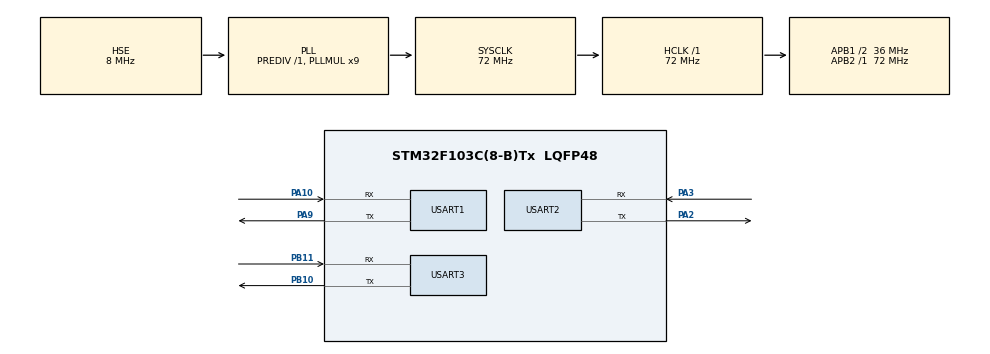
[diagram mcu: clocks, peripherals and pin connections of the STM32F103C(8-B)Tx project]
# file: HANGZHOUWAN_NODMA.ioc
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Mcu.Family=STM32F1
Mcu.Name=STM32F103C(8-B)Tx
Mcu.Package=LQFP48
NVIC.PriorityGroup=NVIC_PRIORITYGROUP_4
NVIC.USART1_IRQn=true\:0\:0\:false\:false\:true\:true\:true
NVIC.USART2_IRQn=true\:0\:0\:false\:false\:true\:true\:true
NVIC.USART3_IRQn=true\:0\:0\:false\:false\:true\:true\:true
PA10.Mode=Asynchronous
PA10.Signal=USART1_RX
PA13.Mode=Serial_Wire
PA13.Signal=SYS_JTMS-SWDIO
PA14.Mode=Serial_Wire
PA14.Signal=SYS_JTCK-SWCLK
PA2.Mode=Asynchronous
PA2.Signal=USART2_TX
PA3.Mode=Asynchronous
PA3.Signal=USART2_RX
PA9.Mode=Asynchronous
PA9.Signal=USART1_TX
PB10.Mode=Asynchronous
PB10.Signal=USART3_TX
PB11.Mode=Asynchronous
PB11.Signal=USART3_RX
PC14-OSC32_IN.Mode=LSE-External-Oscillator
PC14-OSC32_IN.Signal=RCC_OSC32_IN
PC15-OSC32_OUT.Mode=LSE-External-Oscillator
PC15-OSC32_OUT.Signal=RCC_OSC32_OUT
PD0-OSC_IN.Mode=HSE-External-Oscillator
PD0-OSC_IN.Signal=RCC_OSC_IN
PD1-OSC_OUT.Mode=HSE-External-Oscillator
PD1-OSC_OUT.Signal=RCC_OSC_OUT
ProjectManager.HeapSize=0x200
ProjectManager.StackSize=0x400
ProjectManager.TargetToolchain=STM32CubeIDE
RCC.AHBFreq_Value=72000000
RCC.APB1CLKDivider=RCC_HCLK_DIV2
RCC.APB1Freq_Value=36000000
RCC.APB1TimFreq_Value=72000000
RCC.APB2Freq_Value=72000000
RCC.APB2TimFreq_Value=72000000
RCC.HCLKFreq_Value=72000000
RCC.PLLMUL=RCC_PLL_MUL9
RCC.PLLSourceVirtual=RCC_PLLSOURCE_HSE
RCC.SYSCLKFreq_VALUE=72000000
RCC.SYSCLKSource=RCC_SYSCLKSOURCE_PLLCLK
RCC.USBFreq_Value=72000000
USART1.VirtualMode=VM_ASYNC
USART2.VirtualMode=VM_ASYNC
USART3.VirtualMode=VM_ASYNC
board=custom

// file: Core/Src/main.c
/* USER CODE BEGIN Header */
/**
  ******************************************************************************
  * @file           : main.c
  * @brief          : Main program body
  ******************************************************************************
  * @attention
  *
  * <h2><center>&copy; Copyright (c) 2021 STMicroelectronics.
  * All rights reserved.</center></h2>
  *
  * This software component is licensed by ST under BSD 3-Clause license,
  * the "License"; You may not use this file except in compliance with the
  * License. You may obtain a copy of the License at:
  *                        opensource.org/licenses/BSD-3-Clause
  *
  ******************************************************************************
  */
/* USER CODE END Header */
#include "main.h"

UART_HandleTypeDef huart1;
UART_HandleTypeDef huart2;
UART_HandleTypeDef huart3;

/* USER CODE BEGIN PV */
uint8_t distance1_received[255];
uint8_t distance1_received_counts=0;
uint8_t distance1_buff[9];
uint8_t distance1[4];//用字符串表示�?????4位距离（cm�?????
uint8_t distance1_updated=0;
uint8_t sensor_ID1[4]=" s1:";
uint8_t distance1_str[4];
uint8_t distance2_received[255];
uint8_t distance2_received_counts=0;
uint8_t distance2_buff[9];
uint8_t distance2[4];//用字符串表示�?????4位距离（cm�?????
uint8_t distance2_updated=0;
uint8_t sensor_ID2[4]=" s2:";
uint8_t distance2_str[4];
/* USER CODE END PV */

void SystemClock_Config(void);
static void MX_GPIO_Init(void);
static void MX_USART1_UART_Init(void);
static void MX_USART2_UART_Init(void);
static void MX_USART3_UART_Init(void);
/* USER CODE BEGIN PFP */
void distance_data_process(uint8_t* data, uint8_t* sensor_ID);
/* USER CODE END PFP */

int main(void)
{

  /* MCU Configuration--------------------------------------------------------*/

  /* Reset of all peripherals, Initializes the Flash interface and the Systick. */
  HAL_Init();

  /* Configure the system clock */
  SystemClock_Config();

  /* Initialize all configured peripherals */
  MX_GPIO_Init();
  MX_USART1_UART_Init();
  MX_USART2_UART_Init();
  MX_USART3_UART_Init();
  /* USER CODE BEGIN 2 */
  HAL_UART_Receive_IT(&huart1,distance1_received+distance1_received_counts,1);
  HAL_UART_Receive_IT(&huart3,distance2_received+distance2_received_counts,1);
  /* USER CODE END 2 */

  /* Infinite loop */
  /* USER CODE BEGIN WHILE */
  while (1)
  {
	  //HAL_UART_Transmit(&huart2, &distance1_received_counts, 1, 0x200);
	  if(distance1_received_counts>5)
	  {
		  //HAL_UART_Transmit(&huart2, &distance1_received_counts, 1, 0x200);
		  memcpy(distance1_buff+1, distance1_received, 5);
		  distance_data_process(distance1_buff, sensor_ID1);
	  }
	  if(distance2_received_counts>5)
	  {
		  memcpy(distance2_buff+1, distance2_received, 5);
		  distance_data_process(distance2_buff, sensor_ID2);
	  }
    /* USER CODE END WHILE */

  }
}

void SystemClock_Config(void)
{
  RCC_OscInitTypeDef RCC_OscInitStruct = {0};
  RCC_ClkInitTypeDef RCC_ClkInitStruct = {0};

  /** Initializes the RCC Oscillators according to the specified parameters
  * in the RCC_OscInitTypeDef structure.
  */
  RCC_OscInitStruct.OscillatorType = RCC_OSCILLATORTYPE_HSE;
  RCC_OscInitStruct.HSEState = RCC_HSE_ON;
  RCC_OscInitStruct.HSEPredivValue = RCC_HSE_PREDIV_DIV1;
  RCC_OscInitStruct.HSIState = RCC_HSI_ON;
  RCC_OscInitStruct.PLL.PLLState = RCC_PLL_ON;
  RCC_OscInitStruct.PLL.PLLSource = RCC_PLLSOURCE_HSE;
  RCC_OscInitStruct.PLL.PLLMUL = RCC_PLL_MUL9;
  if (HAL_RCC_OscConfig(&RCC_OscInitStruct) != HAL_OK)
  {
    Error_Handler();
  }
  /** Initializes the CPU, AHB and APB buses clocks
  */
  RCC_ClkInitStruct.ClockType = RCC_CLOCKTYPE_HCLK|RCC_CLOCKTYPE_SYSCLK
                              |RCC_CLOCKTYPE_PCLK1|RCC_CLOCKTYPE_PCLK2;
  RCC_ClkInitStruct.SYSCLKSource = RCC_SYSCLKSOURCE_PLLCLK;
  RCC_ClkInitStruct.AHBCLKDivider = RCC_SYSCLK_DIV1;
  RCC_ClkInitStruct.APB1CLKDivider = RCC_HCLK_DIV2;
  RCC_ClkInitStruct.APB2CLKDivider = RCC_HCLK_DIV1;

  if (HAL_RCC_ClockConfig(&RCC_ClkInitStruct, FLASH_LATENCY_2) != HAL_OK)
  {
    Error_Handler();
  }
}

static void MX_USART1_UART_Init(void)
{

  huart1.Instance = USART1;
  huart1.Init.BaudRate = 115200;
  huart1.Init.WordLength = UART_WORDLENGTH_8B;
  huart1.Init.StopBits = UART_STOPBITS_1;
  huart1.Init.Parity = UART_PARITY_NONE;
  huart1.Init.Mode = UART_MODE_TX_RX;
  huart1.Init.HwFlowCtl = UART_HWCONTROL_NONE;
  huart1.Init.OverSampling = UART_OVERSAMPLING_16;
  if (HAL_UART_Init(&huart1) != HAL_OK)
  {
    Error_Handler();
  }

}

static void MX_USART2_UART_Init(void)
{

  huart2.Instance = USART2;
  huart2.Init.BaudRate = 115200;
  huart2.Init.WordLength = UART_WORDLENGTH_8B;
  huart2.Init.StopBits = UART_STOPBITS_1;
  huart2.Init.Parity = UART_PARITY_NONE;
  huart2.Init.Mode = UART_MODE_TX_RX;
  huart2.Init.HwFlowCtl = UART_HWCONTROL_NONE;
  huart2.Init.OverSampling = UART_OVERSAMPLING_16;
  if (HAL_UART_Init(&huart2) != HAL_OK)
  {
    Error_Handler();
  }

}

static void MX_USART3_UART_Init(void)
{

  huart3.Instance = USART3;
  huart3.Init.BaudRate = 115200;
  huart3.Init.WordLength = UART_WORDLENGTH_8B;
  huart3.Init.StopBits = UART_STOPBITS_1;
  huart3.Init.Parity = UART_PARITY_NONE;
  huart3.Init.Mode = UART_MODE_TX_RX;
  huart3.Init.HwFlowCtl = UART_HWCONTROL_NONE;
  huart3.Init.OverSampling = UART_OVERSAMPLING_16;
  if (HAL_UART_Init(&huart3) != HAL_OK)
  {
    Error_Handler();
  }

}

static void MX_GPIO_Init(void)
{

  /* GPIO Ports Clock Enable */
  __HAL_RCC_GPIOC_CLK_ENABLE();
  __HAL_RCC_GPIOD_CLK_ENABLE();
  __HAL_RCC_GPIOA_CLK_ENABLE();
  __HAL_RCC_GPIOB_CLK_ENABLE();

}

/* USER CODE BEGIN 4 */
void HAL_UART_RxCpltCallback(UART_HandleTypeDef *huart)
{
	if (huart->Instance==USART1)
	{
		//HAL_UART_Transmit(&huart2, sensor_ID1, 4, 0x200);
		if(distance1_received[distance1_received_counts]==0x59)
		{
			distance1_received_counts=0;
		}
		distance1_received_counts++;
		//HAL_UART_Transmit(&huart2, &distance1_received_counts, 1, 0x200);
		HAL_UART_Receive_IT(&huart1,distance1_received+distance1_received_counts,1);
	}
	if (huart->Instance==USART3)
	{
		if(distance2_received[distance2_received_counts]==0x59)
		{
			distance2_received_counts=0;
		}
		distance2_received_counts++;
		HAL_UART_Receive_IT(&huart3,distance2_received+distance2_received_counts,1);
	}
}

void distance_data_process(uint8_t* data, uint8_t* sensor_ID)
{
	uint16_t distance=0;
	uint8_t distance_str[4]="9999";
	uint8_t endl[2]="\r\n";
	uint8_t failed[6]="failed";
	distance+=*(data+3);
	distance*=256;
	distance+=*(data+2);
	if(distance!=0xffff)
	{
		for(int8_t i=4; i>0; i--)
		{
			distance_str[i-1]=(distance%10)+48;
			distance/=10;
		}
	}
	if(sensor_ID==sensor_ID1)
	{
		memcpy(distance1_str, distance_str, 4);
	}
	else if(sensor_ID==sensor_ID2)
	{
		memcpy(distance2_str, distance_str, 4);
	}

	HAL_UART_Transmit(&huart2, sensor_ID1, 4, 0x200);
	HAL_UART_Transmit(&huart2, distance1_str, 4, 0x200);
	HAL_UART_Transmit(&huart2, endl, 2, 0x200);
	HAL_UART_Transmit(&huart2, sensor_ID2, 4, 0x200);
	HAL_UART_Transmit(&huart2, distance2_str, 4, 0x200);

}
/* USER CODE END 4 */

void Error_Handler(void)
{
  __disable_irq();
  while (1)
  {
  }
}

/************************ (C) COPYRIGHT STMicroelectronics *****END OF FILE****/
